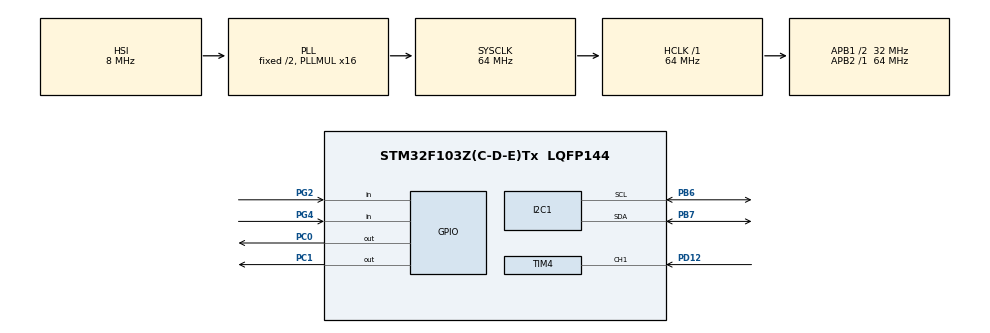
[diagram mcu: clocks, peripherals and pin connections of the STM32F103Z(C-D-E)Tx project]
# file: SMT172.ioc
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Mcu.Family=STM32F1
Mcu.Name=STM32F103Z(C-D-E)Tx
Mcu.Package=LQFP144
NVIC.PriorityGroup=NVIC_PRIORITYGROUP_4
NVIC.TIM4_IRQn=true\:0\:0\:false\:false\:true\:true\:true
PA13.Mode=Serial_Wire
PA13.Signal=SYS_JTMS-SWDIO
PA14.Mode=Serial_Wire
PA14.Signal=SYS_JTCK-SWCLK
PB3.Signal=S_TIM2_CH2
PB6.Mode=I2C
PB6.Signal=I2C1_SCL
PB7.Mode=I2C
PB7.Signal=I2C1_SDA
PC0.Signal=GPIO_Output
PC1.Signal=GPIO_Output
PC14-OSC32_IN.Mode=LSE-External-Oscillator
PC14-OSC32_IN.Signal=RCC_OSC32_IN
PC15-OSC32_OUT.Mode=LSE-External-Oscillator
PC15-OSC32_OUT.Signal=RCC_OSC32_OUT
PD12.Signal=S_TIM4_CH1
PG2.GPIO_PuPd=GPIO_PULLUP
PG2.Signal=GPIO_Input
PG4.GPIO_PuPd=GPIO_PULLUP
PG4.Signal=GPIO_Input
ProjectManager.HeapSize=0x200
ProjectManager.StackSize=0x400
ProjectManager.TargetToolchain=STM32CubeIDE
RCC.AHBFreq_Value=64000000
RCC.APB1CLKDivider=RCC_HCLK_DIV2
RCC.APB1Freq_Value=32000000
RCC.APB1TimFreq_Value=64000000
RCC.APB2Freq_Value=64000000
RCC.APB2TimFreq_Value=64000000
RCC.HCLKFreq_Value=64000000
RCC.PLLMUL=RCC_PLL_MUL16
RCC.SYSCLKFreq_VALUE=64000000
RCC.SYSCLKSource=RCC_SYSCLKSOURCE_PLLCLK
RCC.USBFreq_Value=64000000
SH.S_TIM2_CH2.0=TIM2_CH2
SH.S_TIM4_CH1.0=TIM4_CH1,Input_Capture1_from_TI1
TIM4.Channel-Input_Capture1_from_TI1=TIM_CHANNEL_1
TIM4.Prescaler=71
board=custom

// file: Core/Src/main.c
/* USER CODE BEGIN Header */
/**
  ******************************************************************************
  * @file           : main.c
  * @brief          : Main program body
  ******************************************************************************
  * @attention
  *
  * <h2><center>&copy; Copyright (c) 2020 STMicroelectronics.
  * All rights reserved.</center></h2>
  *
  * This software component is licensed by ST under BSD 3-Clause license,
  * the "License"; You may not use this file except in compliance with the
  * License. You may obtain a copy of the License at:
  *                        opensource.org/licenses/BSD-3-Clause
  *
  ******************************************************************************
  */
/* USER CODE END Header */
#include "main.h"

/* USER CODE BEGIN Includes */
#include "i2c-lcd.h"
#include"stdlib.h"
/* USER CODE END Includes */

I2C_HandleTypeDef hi2c1;

TIM_HandleTypeDef htim4;

void SystemClock_Config(void);
static void MX_GPIO_Init(void);
static void MX_TIM4_Init(void);
static void MX_I2C1_Init(void);

/* USER CODE BEGIN 0 */
uint32_t IC_Val1 = 0;
uint32_t IC_Val2 = 0;
uint8_t Toggle_Captured = 0;
char T_value[10];
char S_value[10];
char R_value[10];
float DC[8];
float DC_Avg;
float Temp;
float Temp10;
uint32_t Temp20;
int counter = 0;

int Set_Point = 28;

void HAL_TIM_IC_CaptureCallback(TIM_HandleTypeDef *htim)
{
	if (htim->Channel == HAL_TIM_ACTIVE_CHANNEL_1)
	{
		if (Toggle_Captured==0)
		{
			IC_Val1 = HAL_TIM_ReadCapturedValue(htim, TIM_CHANNEL_1);
			Toggle_Captured = 1;

			__HAL_TIM_SET_CAPTUREPOLARITY(htim, TIM_CHANNEL_1, TIM_INPUTCHANNELPOLARITY_FALLING);
		}

		else if (Toggle_Captured==1)
		{
			IC_Val2 = HAL_TIM_ReadCapturedValue(htim, TIM_CHANNEL_1);
			__HAL_TIM_SET_COUNTER(htim, 0);

			if (IC_Val2 > IC_Val1)
			{

				if (counter > 7) counter = 0;
				DC[counter] = ((float)(IC_Val2-IC_Val1)/((float)IC_Val2));
				counter ++ ;

				DC_Avg = (DC[0]+DC[1]+DC[2]+DC[3]+DC[4]+DC[5]+DC[6]+DC[7])/8;
				Temp10 = ((DC_Avg-0.32)/0.0047)*10;
				Temp20 = (uint32_t)(Temp10);
				Temp = (float)Temp20 / 10;

			}

			Toggle_Captured = 0;

			__HAL_TIM_SET_CAPTUREPOLARITY(htim, TIM_CHANNEL_1, TIM_INPUTCHANNELPOLARITY_RISING);

		}
	}
}
/* USER CODE END 0 */

int main(void)
{
  /* USER CODE BEGIN 1 */
	int set_temp (void);
	int relay_status (int Set_Point);

  /* USER CODE END 1 */

  /* MCU Configuration--------------------------------------------------------*/

  /* Reset of all peripherals, Initializes the Flash interface and the Systick. */
  HAL_Init();

  /* Configure the system clock */
  SystemClock_Config();

  /* Initialize all configured peripherals */
  MX_GPIO_Init();
  MX_TIM4_Init();
  MX_I2C1_Init();
  /* USER CODE BEGIN 2 */
  lcd_clear();
  HAL_Delay(1000);
  lcd_send_cmd (0x80);
  lcd_send_string("SMT172-Temp Sens");
  lcd_send_cmd (0xC0);
  lcd_send_string(">Sajad Ahmadian<");
  HAL_Delay(1000);
  lcd_clear();

  HAL_TIM_IC_Start_IT(&htim4, TIM_CHANNEL_1);

  /* USER CODE END 2 */

  /* Infinite loop */
  while (1)
  {
	          set_temp();
	    	  relay_status(Set_Point);

	    	  lcd_send_cmd (0x80);
	    	  sprintf(T_value, "Temp = %.1f     ", Temp);
	    	  lcd_send_string(T_value);

	    	  lcd_send_cmd (0xC0);
	    	  sprintf(S_value, "Set-P = %d ", Set_Point);
	    	  lcd_send_string(S_value);

	    	  lcd_put_cur(1,11);
	    	  if(relay_status(Set_Point) == 1)
	    	  {
	    		lcd_send_string("R=ON ");
	    	  }
	    	  else
	    	  {
	      	  lcd_send_string("R=OFF");
	    	  }

	    	  HAL_Delay(500);

  }
}

void SystemClock_Config(void)
{
  RCC_OscInitTypeDef RCC_OscInitStruct = {0};
  RCC_ClkInitTypeDef RCC_ClkInitStruct = {0};

  /** Initializes the RCC Oscillators according to the specified parameters
  * in the RCC_OscInitTypeDef structure.
  */
  RCC_OscInitStruct.OscillatorType = RCC_OSCILLATORTYPE_HSI;
  RCC_OscInitStruct.HSIState = RCC_HSI_ON;
  RCC_OscInitStruct.HSICalibrationValue = RCC_HSICALIBRATION_DEFAULT;
  RCC_OscInitStruct.PLL.PLLState = RCC_PLL_ON;
  RCC_OscInitStruct.PLL.PLLSource = RCC_PLLSOURCE_HSI_DIV2;
  RCC_OscInitStruct.PLL.PLLMUL = RCC_PLL_MUL16;
  if (HAL_RCC_OscConfig(&RCC_OscInitStruct) != HAL_OK)
  {
    Error_Handler();
  }
  /** Initializes the CPU, AHB and APB buses clocks
  */
  RCC_ClkInitStruct.ClockType = RCC_CLOCKTYPE_HCLK|RCC_CLOCKTYPE_SYSCLK
                              |RCC_CLOCKTYPE_PCLK1|RCC_CLOCKTYPE_PCLK2;
  RCC_ClkInitStruct.SYSCLKSource = RCC_SYSCLKSOURCE_PLLCLK;
  RCC_ClkInitStruct.AHBCLKDivider = RCC_SYSCLK_DIV1;
  RCC_ClkInitStruct.APB1CLKDivider = RCC_HCLK_DIV2;
  RCC_ClkInitStruct.APB2CLKDivider = RCC_HCLK_DIV1;

  if (HAL_RCC_ClockConfig(&RCC_ClkInitStruct, FLASH_LATENCY_2) != HAL_OK)
  {
    Error_Handler();
  }
}

static void MX_I2C1_Init(void)
{

  hi2c1.Instance = I2C1;
  hi2c1.Init.ClockSpeed = 100000;
  hi2c1.Init.DutyCycle = I2C_DUTYCYCLE_2;
  hi2c1.Init.OwnAddress1 = 0;
  hi2c1.Init.AddressingMode = I2C_ADDRESSINGMODE_7BIT;
  hi2c1.Init.DualAddressMode = I2C_DUALADDRESS_DISABLE;
  hi2c1.Init.OwnAddress2 = 0;
  hi2c1.Init.GeneralCallMode = I2C_GENERALCALL_DISABLE;
  hi2c1.Init.NoStretchMode = I2C_NOSTRETCH_DISABLE;
  if (HAL_I2C_Init(&hi2c1) != HAL_OK)
  {
    Error_Handler();
  }

}

static void MX_TIM4_Init(void)
{

  TIM_MasterConfigTypeDef sMasterConfig = {0};
  TIM_IC_InitTypeDef sConfigIC = {0};

  htim4.Instance = TIM4;
  htim4.Init.Prescaler = 71;
  htim4.Init.CounterMode = TIM_COUNTERMODE_UP;
  htim4.Init.Period = 65535;
  htim4.Init.ClockDivision = TIM_CLOCKDIVISION_DIV1;
  htim4.Init.AutoReloadPreload = TIM_AUTORELOAD_PRELOAD_DISABLE;
  if (HAL_TIM_IC_Init(&htim4) != HAL_OK)
  {
    Error_Handler();
  }
  sMasterConfig.MasterOutputTrigger = TIM_TRGO_RESET;
  sMasterConfig.MasterSlaveMode = TIM_MASTERSLAVEMODE_DISABLE;
  if (HAL_TIMEx_MasterConfigSynchronization(&htim4, &sMasterConfig) != HAL_OK)
  {
    Error_Handler();
  }
  sConfigIC.ICPolarity = TIM_INPUTCHANNELPOLARITY_RISING;
  sConfigIC.ICSelection = TIM_ICSELECTION_DIRECTTI;
  sConfigIC.ICPrescaler = TIM_ICPSC_DIV1;
  sConfigIC.ICFilter = 0;
  if (HAL_TIM_IC_ConfigChannel(&htim4, &sConfigIC, TIM_CHANNEL_1) != HAL_OK)
  {
    Error_Handler();
  }

}

static void MX_GPIO_Init(void)
{
  GPIO_InitTypeDef GPIO_InitStruct = {0};

  /* GPIO Ports Clock Enable */
  __HAL_RCC_GPIOC_CLK_ENABLE();
  __HAL_RCC_GPIOD_CLK_ENABLE();
  __HAL_RCC_GPIOG_CLK_ENABLE();
  __HAL_RCC_GPIOA_CLK_ENABLE();
  __HAL_RCC_GPIOB_CLK_ENABLE();

  /*Configure GPIO pin Output Level */
  HAL_GPIO_WritePin(GPIOC, GPIO_PIN_0|GPIO_PIN_1, GPIO_PIN_RESET);

  /*Configure GPIO pins : PC0 PC1 */
  GPIO_InitStruct.Pin = GPIO_PIN_0|GPIO_PIN_1;
  GPIO_InitStruct.Mode = GPIO_MODE_OUTPUT_PP;
  GPIO_InitStruct.Pull = GPIO_NOPULL;
  GPIO_InitStruct.Speed = GPIO_SPEED_FREQ_LOW;
  HAL_GPIO_Init(GPIOC, &GPIO_InitStruct);

  /*Configure GPIO pins : PG2 PG4 */
  GPIO_InitStruct.Pin = GPIO_PIN_2|GPIO_PIN_4;
  GPIO_InitStruct.Mode = GPIO_MODE_INPUT;
  GPIO_InitStruct.Pull = GPIO_PULLUP;
  HAL_GPIO_Init(GPIOG, &GPIO_InitStruct);

  /*Configure GPIO pin : PB3 */
  GPIO_InitStruct.Pin = GPIO_PIN_3;
  GPIO_InitStruct.Mode = GPIO_MODE_AF_PP;
  GPIO_InitStruct.Speed = GPIO_SPEED_FREQ_LOW;
  HAL_GPIO_Init(GPIOB, &GPIO_InitStruct);

  /*Configure peripheral I/O remapping */
  __HAL_AFIO_REMAP_TIM2_PARTIAL_1();

}

/* USER CODE BEGIN 4 */
int set_temp (void)
{
	if(HAL_GPIO_ReadPin(GPIOG, GPIO_PIN_2)==0)
	{
		Set_Point++ ;
		HAL_Delay(200);

	}
	if(HAL_GPIO_ReadPin(GPIOG, GPIO_PIN_4)==0)
	{
		Set_Point-- ;
		HAL_Delay(200);
	}
	if(Set_Point<=0) Set_Point = 0;
	else if(Set_Point>=100) Set_Point = 100;
	return Set_Point;
}

int relay_status (int Set_Point)
{
	int i;
	if(Temp >= Set_Point){
		i=1;
		HAL_GPIO_WritePin(GPIOC, GPIO_PIN_1, GPIO_PIN_SET);
	}
	else if (Temp < Set_Point-1){
		i=0;
		HAL_GPIO_WritePin(GPIOC, GPIO_PIN_1, GPIO_PIN_RESET);
	}
	return i;
}
/* USER CODE END 4 */

void Error_Handler(void)
{
  __disable_irq();
  while (1)
  {
  }
}

/************************ (C) COPYRIGHT STMicroelectronics *****END OF FILE****/
